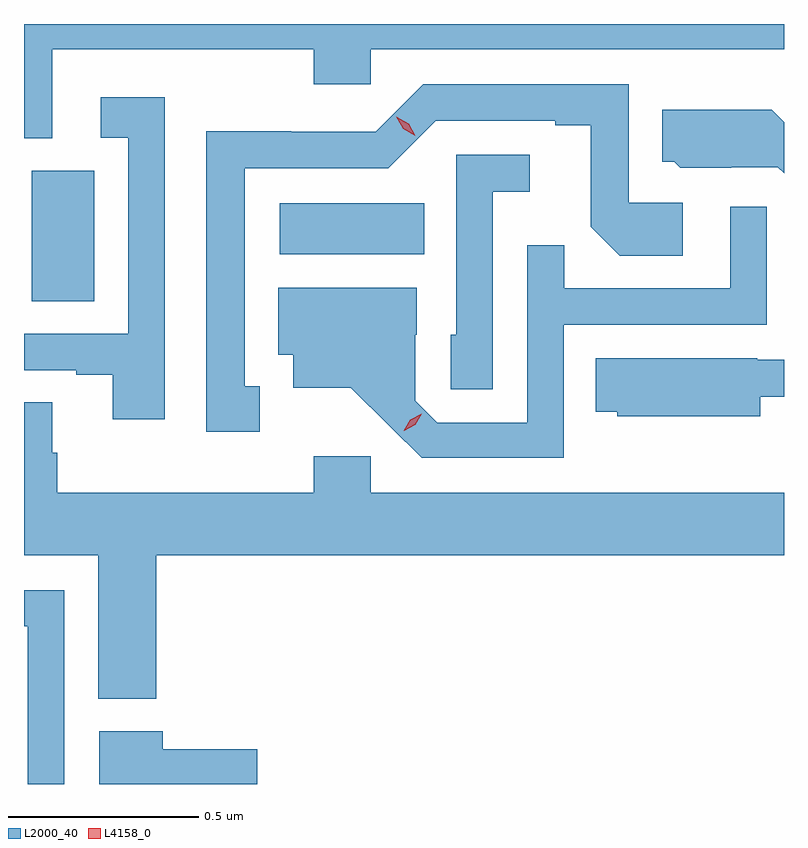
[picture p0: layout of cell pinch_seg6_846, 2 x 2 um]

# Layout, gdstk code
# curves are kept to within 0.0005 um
import gdstk
lib = gdstk.Library(unit=1e-6, precision=1e-09)
def R(c, l, rs):  # rectangles x0, y0, x1, y1
    for r in rs: c.add(gdstk.rectangle(r[:2], r[2:], *l))
def P(c, l, *ps):  # polygons
    for p in ps: c.add(gdstk.Polygon(p, *l))
L2000_40 = (2000, 40)
L4158_0 = (4158, 0)

pinch_seg6_846 = lib.new_cell('pinch_seg6_846')
R(pinch_seg6_846, L2000_40, [(133.172,975.976,133.336,976.32), (133.824,976.1,134.204,976.234)])
P(pinch_seg6_846, L2000_40, [(133.225,976.64),(133.913,976.64),(133.913,976.547),(134.064,976.547),(134.064,976.64),(135.151,976.64),(135.151,976.706),(133.151,976.706),(133.151,976.405),(133.225,976.405)],
  [(133.771,975.753),(133.732,975.753),(133.732,976.326),(134.109,976.326),(134.235,976.452),(134.549,976.452),(134.549,976.44),(134.643,976.44),(134.643,976.172),(134.719,976.096),(134.884,976.096),(134.884,976.236),(134.742,976.236),(134.742,976.548),(134.202,976.548),(134.076,976.422),(133.854,976.422),(133.854,976.424),(133.631,976.424),(133.631,975.633),(133.771,975.633)],
  [(133.521,976.513),(133.353,976.513),(133.353,976.407),(133.425,976.407),(133.425,975.891),(133.151,975.891),(133.151,975.795),(133.289,975.795),(133.289,975.783),(133.385,975.783),(133.385,975.666),(133.521,975.666)],
  [(135.151,976.448),(135.119,976.48),(134.831,976.48),(134.831,976.344),(134.862,976.344),(134.878,976.328),(135.012,976.328),(135.012,976.329),(135.135,976.329),(135.151,976.313)],
  [(134.385,976.265),(134.482,976.265),(134.482,976.362),(134.289,976.362),(134.289,975.888),(134.274,975.888),(134.274,975.745),(134.385,975.745)],
  [(134.571,975.915),(135.105,975.915),(135.105,976.225),(135.009,976.225),(135.009,976.011),(134.573,976.011),(134.573,976.124),(134.475,976.124),(134.475,975.657),(134.238,975.657),(134.181,975.714),(134.181,975.888),(134.185,975.888),(134.185,976.012),(133.82,976.012),(133.82,975.836),(133.859,975.836),(133.859,975.749),(134.011,975.749),(134.198,975.564),(134.571,975.564)],
  [(135.088,975.725),(135.151,975.725),(135.151,975.822),(135.08,975.822),(135.08,975.826),(134.656,975.826),(134.656,975.686),(134.712,975.686),(134.712,975.674),(135.088,975.674)],
  [(133.499,975.308),(135.151,975.308),(135.151,975.472),(134.064,975.472),(134.064,975.568),(133.913,975.568),(133.913,975.472),(133.238,975.472),(133.238,975.578),(133.225,975.578),(133.225,975.71),(133.151,975.71),(133.151,975.308),(133.346,975.308),(133.346,974.93),(133.499,974.93)],
  [(133.257,975.216),(133.151,975.216),(133.151,975.121),(133.161,975.121),(133.161,974.706),(133.257,974.706)],
  [(133.765,974.798),(133.516,974.798),(133.516,974.845),(133.349,974.845),(133.349,974.706),(133.765,974.706)])
P(pinch_seg6_846, L4158_0, [(134.15,975.636),(134.15,975.636),(134.167,975.665),(134.198,975.68),(134.198,975.68),(134.198,975.68),(134.181,975.651),(134.151,975.636)],
  [(134.181,976.412),(134.149,976.43),(134.131,976.462),(134.131,976.462),(134.131,976.462),(134.163,976.444),(134.181,976.412),(134.181,976.412)])

lib.write_gds('pinch_seg6_846.gds')
